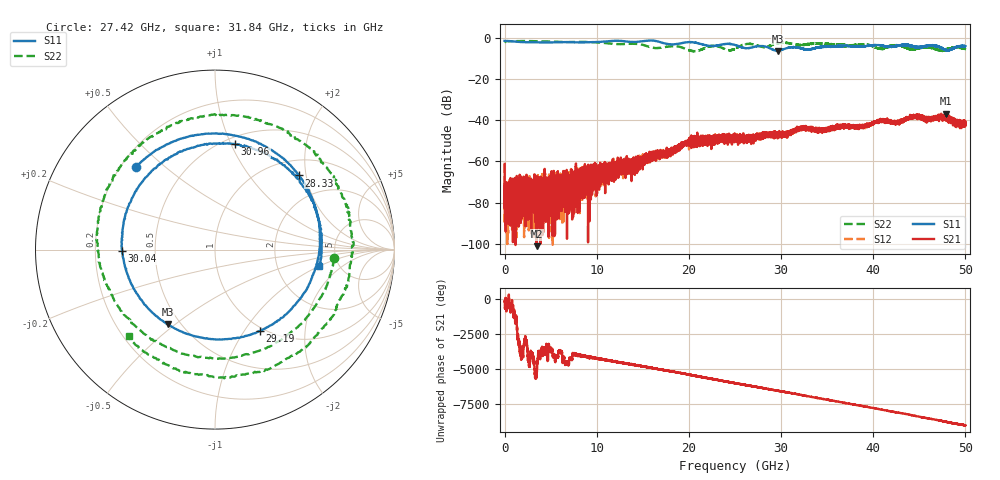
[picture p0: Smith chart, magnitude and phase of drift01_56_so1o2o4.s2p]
!Created with skrf (http://scikit-rf.org).
# Hz S RI R 50.0
!freq ReS11 ImS11 ReS21 ImS21 ReS12 ImS12 ReS22 ImS22
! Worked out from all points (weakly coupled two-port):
!   10001 points, 300 kHz to 50 GHz, reference 50 ohm
!   highest |S21| = -36.72 dB at 47.93 GHz (marker M1); lowest = -101.2 dB at 3.475 GHz (marker M2)
!   lowest |S11| = -6.2 dB at 29.62 GHz (marker M3), VSWR 2.93, Z = 21.5 - j23.5 ohm
!   |S11| at or under -10 dB: nowhere
!   |S22| runs from -6.4 to -1.4 dB; largest |S21 - S12| = 0.0037
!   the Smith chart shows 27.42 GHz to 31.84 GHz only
!   S11 on the Smith chart (normalised r, x): 27.42 GHz: 0.26, +0.40; 28.33 GHz: 1.34, +1.82; 29.19 GHz: 0.95, -1.18; 30.04 GHz: 0.32, -0.01; 30.96 GHz: 0.57, +1.04; 31.84 GHz: 3.56, -0.98
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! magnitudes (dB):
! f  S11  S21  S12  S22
! 300 kHz  -1.3  -61.2  -61.2  -2.1
! 255.3 MHz  -1.4  -82.3  -73.1  -1.4
! 3.475 GHz  -2.0  -101.2  -86.1  -1.5
! 6.795 GHz  -1.9  -65.0  -76.2  -1.9
! 8.335 GHz  -2.0  -64.8  -71.3  -1.8
! 16.67 GHz  -1.6  -55.5  -57.9  -4.8
! 20.14 GHz  -1.9  -48.3  -50.6  -6.0
! 22.62 GHz  -3.8  -48.5  -48.9  -3.8
! 25 GHz  -3.3  -48.9  -48.0  -5.1
! 27.42 GHz  -3.9  -47.2  -48.3  -3.5
! 28.33 GHz  -4.1  -47.1  -47.4  -4.3
! 29.19 GHz  -5.7  -47.2  -46.8  -3.0
! 29.62 GHz  -6.2  -48.2  -46.8  -2.5
! 30.04 GHz  -5.7  -46.5  -46.6  -2.3
! 30.96 GHz  -4.5  -46.8  -46.4  -2.5
! 31.84 GHz  -4.6  -44.5  -44.7  -3.3
! 33.34 GHz  -5.2  -44.8  -44.5  -2.6
! 41.67 GHz  -4.3  -40.0  -40.2  -4.1
! 44.42 GHz  -4.2  -38.3  -38.3  -5.4
! 46.49 GHz  -3.5  -38.9  -39.4  -5.0
! 47.93 GHz  -5.7  -36.7  -38.7  -5.5
! 50 GHz  -3.8  -40.7  -41.0  -5.4
